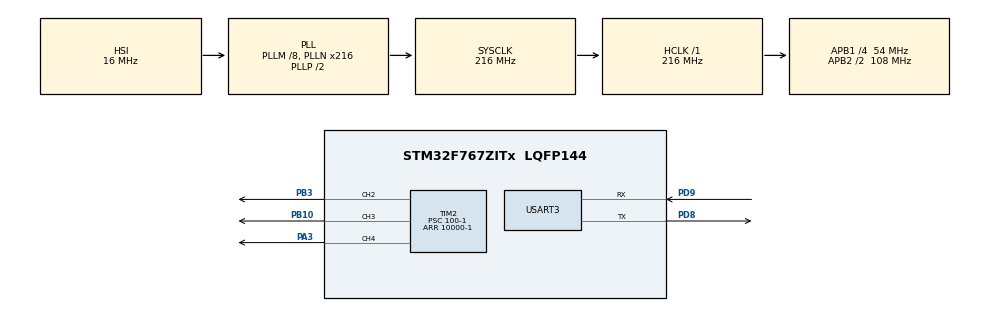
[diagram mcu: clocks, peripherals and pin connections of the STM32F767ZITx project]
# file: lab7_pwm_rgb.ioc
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Mcu.Family=STM32F7
Mcu.Name=STM32F767ZITx
Mcu.Package=LQFP144
NVIC.PriorityGroup=NVIC_PRIORITYGROUP_2
NVIC.USART3_IRQn=true\:1\:0\:true\:false\:true\:true\:true\:true
PA3.GPIO_Speed=GPIO_SPEED_FREQ_VERY_HIGH
PA3.Signal=S_TIM2_CH4
PB10.GPIO_Speed=GPIO_SPEED_FREQ_VERY_HIGH
PB10.Signal=S_TIM2_CH3
PB3.GPIO_Speed=GPIO_SPEED_FREQ_VERY_HIGH
PB3.Signal=S_TIM2_CH2
PD8.Mode=Asynchronous
PD8.Signal=USART3_TX
PD9.Mode=Asynchronous
PD9.Signal=USART3_RX
ProjectManager.HeapSize=0x200
ProjectManager.StackSize=0x400
ProjectManager.TargetToolchain=STM32CubeIDE
RCC.AHBFreq_Value=216000000
RCC.APB1CLKDivider=RCC_HCLK_DIV4
RCC.APB1Freq_Value=54000000
RCC.APB1TimFreq_Value=108000000
RCC.APB2CLKDivider=RCC_HCLK_DIV2
RCC.APB2Freq_Value=108000000
RCC.APB2TimFreq_Value=216000000
RCC.CortexFreq_Value=216000000
RCC.HCLKFreq_Value=216000000
RCC.HSE_VALUE=25000000
RCC.HSI_VALUE=16000000
RCC.LSE_VALUE=32768
RCC.PLLM=8
RCC.PLLN=216
RCC.SYSCLKFreq_VALUE=216000000
RCC.SYSCLKSource=RCC_SYSCLKSOURCE_PLLCLK
RCC.USBFreq_Value=216000000
RCC.VCOOutputFreq_Value=432000000
SH.S_TIM2_CH2.0=TIM2_CH2,PWM Generation2 CH2
SH.S_TIM2_CH3.0=TIM2_CH3,PWM Generation3 CH3
SH.S_TIM2_CH4.0=TIM2_CH4,PWM Generation4 CH4
TIM2.Channel-PWM\ Generation2\ CH2=TIM_CHANNEL_2
TIM2.Channel-PWM\ Generation3\ CH3=TIM_CHANNEL_3
TIM2.Channel-PWM\ Generation4\ CH4=TIM_CHANNEL_4
TIM2.Period=10000-1
TIM2.Prescaler=100-1
TIM2.Pulse-PWM\ Generation2\ CH2=10000/4 - 1
TIM2.Pulse-PWM\ Generation3\ CH3=10000/4 - 1
TIM2.Pulse-PWM\ Generation4\ CH4=10000/4 - 1
USART3.VirtualMode-Asynchronous=VM_ASYNC
board=custom

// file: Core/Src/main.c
/* USER CODE BEGIN Header */
/**
 ******************************************************************************
 * @file           : main.c
 * @brief          : Main program body
 ******************************************************************************
 * @attention
 *
 * Copyright (c) 2023 STMicroelectronics.
 * All rights reserved.
 *
 * This software is licensed under terms that can be found in the LICENSE file
 * in the root directory of this software component.
 * If no LICENSE file comes with this software, it is provided AS-IS.
 *
 ******************************************************************************
 */
/* USER CODE END Header */
#include "main.h"

/* USER CODE BEGIN Includes */
#include "strings.h"
/* USER CODE END Includes */

TIM_HandleTypeDef htim2;

UART_HandleTypeDef huart3;

void SystemClock_Config(void);
static void MX_GPIO_Init(void);
static void MX_USART3_UART_Init(void);
static void MX_TIM2_Init(void);

/* USER CODE BEGIN 0 */
char sendBuff[100] = { 0 };
void cleverSend(UART_HandleTypeDef huart, char *tosend) {
	while (__HAL_UART_GET_FLAG(&huart,UART_FLAG_TC) == RESET) {
	}
	sendBuff[0] = 0;
	strcat(sendBuff, tosend);
	HAL_UART_Transmit(&huart, (uint8_t*) sendBuff, strlen(sendBuff),
	HAL_MAX_DELAY);
}

uint8_t Rx_uart3[5];
uint8_t Rx_uart6[5];
float intensity[3] = { 0,0,0 };
void changeIntensity(int index, float change) {
	intensity[index] += change;
	if (intensity[index] > 1.0)
		intensity[index] = 0;

	char msg[50];
	sprintf(msg, "RED:%.3d%% GREEN:%.3d%% BLUE:%.3d%%\n", (int) (intensity[0] * 100.0),
			(int) (intensity[1] * 100.0), (int) (intensity[2] * 100.0));
	cleverSend(huart3, msg);
}
void HAL_UART_RxCpltCallback(UART_HandleTypeDef *huart) {
	if (huart->Instance == USART3) {
		switch (Rx_uart3[0]) {
		case 'r':
			changeIntensity(0, 0.2);
			break;
		case 'g':
			changeIntensity(1, 0.2);
			break;
		case 'b':
			changeIntensity(2, 0.2);
			break;
		}
		HAL_UART_Receive_IT(huart, Rx_uart3, 1);
	}
}
/* USER CODE END 0 */

int main(void)
{

  /* MCU Configuration--------------------------------------------------------*/

  /* Reset of all peripherals, Initializes the Flash interface and the Systick. */
  HAL_Init();

  /* Configure the system clock */
  SystemClock_Config();

  /* Initialize all configured peripherals */
  MX_GPIO_Init();
  MX_USART3_UART_Init();
  MX_TIM2_Init();

  /* Infinite loop */
  /* USER CODE BEGIN WHILE */
	cleverSend(huart3, "I AM THE RGB.\r\n");
	HAL_UART_Receive_IT(&huart3, Rx_uart3, 1);
	HAL_TIM_PWM_Start(&htim2, TIM_CHANNEL_2);
	HAL_TIM_PWM_Start(&htim2, TIM_CHANNEL_3);
	HAL_TIM_PWM_Start(&htim2, TIM_CHANNEL_4);

	while (1) {
    /* USER CODE END WHILE */

    /* USER CODE BEGIN 3 */
		htim2.Instance->CCR2 = (10000 - 1) * intensity[0];
		htim2.Instance->CCR3 = (10000 - 1) * intensity[1];
		htim2.Instance->CCR4 = (10000 - 1) * intensity[2];

	}
  /* USER CODE END 3 */
}

void SystemClock_Config(void)
{
  RCC_OscInitTypeDef RCC_OscInitStruct = {0};
  RCC_ClkInitTypeDef RCC_ClkInitStruct = {0};

  /** Configure the main internal regulator output voltage
  */
  __HAL_RCC_PWR_CLK_ENABLE();
  __HAL_PWR_VOLTAGESCALING_CONFIG(PWR_REGULATOR_VOLTAGE_SCALE1);

  /** Initializes the RCC Oscillators according to the specified parameters
  * in the RCC_OscInitTypeDef structure.
  */
  RCC_OscInitStruct.OscillatorType = RCC_OSCILLATORTYPE_HSI;
  RCC_OscInitStruct.HSIState = RCC_HSI_ON;
  RCC_OscInitStruct.HSICalibrationValue = RCC_HSICALIBRATION_DEFAULT;
  RCC_OscInitStruct.PLL.PLLState = RCC_PLL_ON;
  RCC_OscInitStruct.PLL.PLLSource = RCC_PLLSOURCE_HSI;
  RCC_OscInitStruct.PLL.PLLM = 8;
  RCC_OscInitStruct.PLL.PLLN = 216;
  RCC_OscInitStruct.PLL.PLLP = RCC_PLLP_DIV2;
  RCC_OscInitStruct.PLL.PLLQ = 2;
  RCC_OscInitStruct.PLL.PLLR = 2;
  if (HAL_RCC_OscConfig(&RCC_OscInitStruct) != HAL_OK)
  {
    Error_Handler();
  }

  /** Activate the Over-Drive mode
  */
  if (HAL_PWREx_EnableOverDrive() != HAL_OK)
  {
    Error_Handler();
  }

  /** Initializes the CPU, AHB and APB buses clocks
  */
  RCC_ClkInitStruct.ClockType = RCC_CLOCKTYPE_HCLK|RCC_CLOCKTYPE_SYSCLK
                              |RCC_CLOCKTYPE_PCLK1|RCC_CLOCKTYPE_PCLK2;
  RCC_ClkInitStruct.SYSCLKSource = RCC_SYSCLKSOURCE_PLLCLK;
  RCC_ClkInitStruct.AHBCLKDivider = RCC_SYSCLK_DIV1;
  RCC_ClkInitStruct.APB1CLKDivider = RCC_HCLK_DIV4;
  RCC_ClkInitStruct.APB2CLKDivider = RCC_HCLK_DIV2;

  if (HAL_RCC_ClockConfig(&RCC_ClkInitStruct, FLASH_LATENCY_7) != HAL_OK)
  {
    Error_Handler();
  }
}

static void MX_TIM2_Init(void)
{

  TIM_MasterConfigTypeDef sMasterConfig = {0};
  TIM_OC_InitTypeDef sConfigOC = {0};

  htim2.Instance = TIM2;
  htim2.Init.Prescaler = 100-1;
  htim2.Init.CounterMode = TIM_COUNTERMODE_UP;
  htim2.Init.Period = 10000-1;
  htim2.Init.ClockDivision = TIM_CLOCKDIVISION_DIV1;
  htim2.Init.AutoReloadPreload = TIM_AUTORELOAD_PRELOAD_DISABLE;
  if (HAL_TIM_PWM_Init(&htim2) != HAL_OK)
  {
    Error_Handler();
  }
  sMasterConfig.MasterOutputTrigger = TIM_TRGO_RESET;
  sMasterConfig.MasterSlaveMode = TIM_MASTERSLAVEMODE_DISABLE;
  if (HAL_TIMEx_MasterConfigSynchronization(&htim2, &sMasterConfig) != HAL_OK)
  {
    Error_Handler();
  }
  sConfigOC.OCMode = TIM_OCMODE_PWM1;
  sConfigOC.Pulse = 10000/4 - 1;
  sConfigOC.OCPolarity = TIM_OCPOLARITY_HIGH;
  sConfigOC.OCFastMode = TIM_OCFAST_DISABLE;
  if (HAL_TIM_PWM_ConfigChannel(&htim2, &sConfigOC, TIM_CHANNEL_2) != HAL_OK)
  {
    Error_Handler();
  }
  if (HAL_TIM_PWM_ConfigChannel(&htim2, &sConfigOC, TIM_CHANNEL_3) != HAL_OK)
  {
    Error_Handler();
  }
  if (HAL_TIM_PWM_ConfigChannel(&htim2, &sConfigOC, TIM_CHANNEL_4) != HAL_OK)
  {
    Error_Handler();
  }
  HAL_TIM_MspPostInit(&htim2);

}

static void MX_USART3_UART_Init(void)
{

  huart3.Instance = USART3;
  huart3.Init.BaudRate = 115200;
  huart3.Init.WordLength = UART_WORDLENGTH_8B;
  huart3.Init.StopBits = UART_STOPBITS_1;
  huart3.Init.Parity = UART_PARITY_NONE;
  huart3.Init.Mode = UART_MODE_TX_RX;
  huart3.Init.HwFlowCtl = UART_HWCONTROL_NONE;
  huart3.Init.OverSampling = UART_OVERSAMPLING_16;
  huart3.Init.OneBitSampling = UART_ONE_BIT_SAMPLE_DISABLE;
  huart3.AdvancedInit.AdvFeatureInit = UART_ADVFEATURE_NO_INIT;
  if (HAL_UART_Init(&huart3) != HAL_OK)
  {
    Error_Handler();
  }

}

static void MX_GPIO_Init(void)
{

  /* GPIO Ports Clock Enable */
  __HAL_RCC_GPIOA_CLK_ENABLE();
  __HAL_RCC_GPIOB_CLK_ENABLE();
  __HAL_RCC_GPIOD_CLK_ENABLE();

}

void Error_Handler(void)
{
	__disable_irq();
	while (1) {
	}
}
